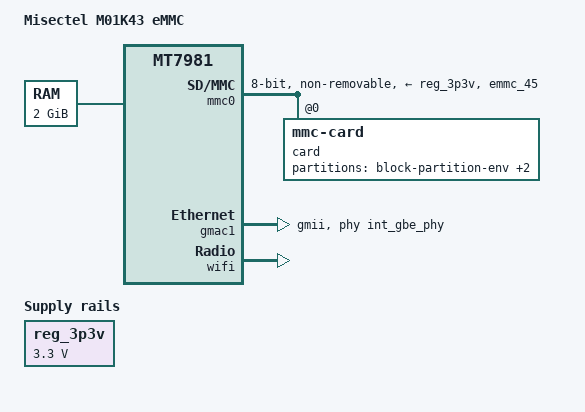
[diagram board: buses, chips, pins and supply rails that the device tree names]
// SPDX-License-Identifier: GPL-2.0-or-later OR MIT
/dts-v1/;

#include "mt7981b-misectel-m01k43.dts"

/ {
	model = "Misectel M01K43 eMMC";
	compatible = "misectel,m01k43-emmc", "mediatek,mt7981";

	aliases {
		label-mac-device = &gmac1;
	};

	/* GPIO25 is the eMMC clock, not the NAND variant's modem power GPIO. */
	gpio-export {
		/delete-node/ 5gpower;
	};

	reg_3p3v: regulator-3p3v {
		compatible = "regulator-fixed";
		regulator-name = "fixed-3.3V";
		regulator-min-microvolt = <3300000>;
		regulator-max-microvolt = <3300000>;
		regulator-boot-on;
		regulator-always-on;
	};

	chosen {
		/delete-property/ bootargs-append;
		bootargs-override = "root=/dev/fit0 rootwait";
		rootdisk = <&emmc_rootdisk>;
	};

	memory@40000000 {
		reg = <0 0x40000000 0 0x80000000>;
	};
};

&pio {
	mmc0_pins_default: mmc0-pins-default {
		mux {
			function = "flash";
			groups = "emmc_45";
		};
	};

	mmc0_pins_uhs: mmc0-pins-uhs {
		mux {
			function = "flash";
			groups = "emmc_45";
		};
	};
};

&mmc0 {
	#address-cells = <1>;
	#size-cells = <0>;
	pinctrl-names = "default", "state_uhs";
	pinctrl-0 = <&mmc0_pins_default>;
	pinctrl-1 = <&mmc0_pins_uhs>;
	bus-width = <8>;
	max-frequency = <52000000>;
	cap-mmc-highspeed;
	cap-mmc-hw-reset;
	vmmc-supply = <&reg_3p3v>;
	non-removable;
	no-sd;
	no-sdio;
	status = "okay";

	card@0 {
		compatible = "mmc-card";
		reg = <0>;

		block {
			compatible = "block-device";

			partitions {
				block-partition-env {
					partname = "uboot-env";

					nvmem-layout {
						compatible = "u-boot,env";
					};
				};

				block-partition-factory {
					partname = "factory";

					nvmem-layout {
						compatible = "fixed-layout";
						#address-cells = <1>;
						#size-cells = <1>;

						emmc_eeprom_factory_0: eeprom@0 {
							reg = <0x0 0x1000>;
						};

						emmc_macaddr_factory_4: macaddr@4 {
							compatible = "mac-base";
							reg = <0x4 0x6>;
							#nvmem-cell-cells = <1>;
						};
					};
				};

				emmc_rootdisk: block-partition-rootfs {
					partname = "rootfs";
				};
			};
		};
	};
};

&spi0 {
	status = "disabled";
};

&spi2 {
	status = "disabled";
};

/* This eMMC variant has one port on the MT7981 integrated GbE PHY. */
&eth {
	/delete-node/ mac@0;

	gmac1: mac@1 {
		compatible = "mediatek,eth-mac";
		reg = <1>;
		phy-mode = "gmii";
		phy-handle = <&int_gbe_phy>;
		nvmem-cell-names = "mac-address";
		nvmem-cells = <&emmc_macaddr_factory_4 0>;
	};
};

&mdio_bus {
	/delete-node/ phy@6;
	/delete-node/ switch@1f;
};

&wifi {
	nvmem-cells = <&emmc_eeprom_factory_0>;
};
